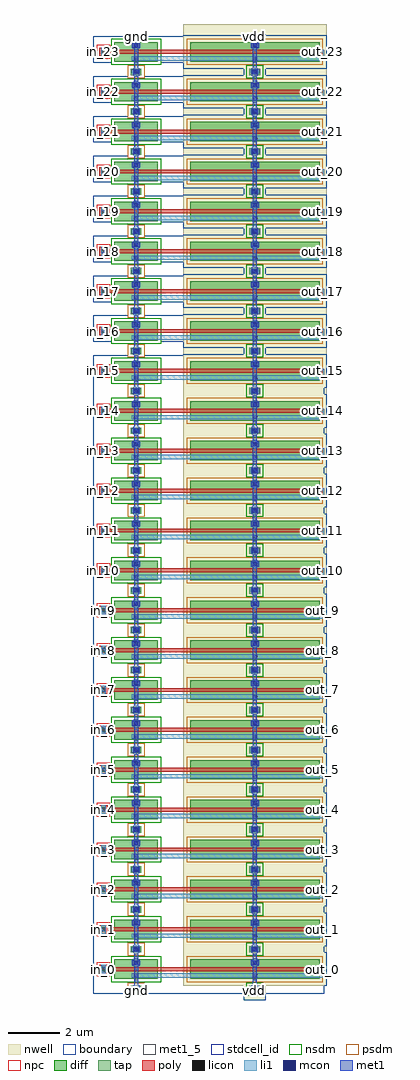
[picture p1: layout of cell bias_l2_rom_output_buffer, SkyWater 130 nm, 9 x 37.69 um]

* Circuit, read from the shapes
.subckt bias_l2_rom_output_buffer gnd in_0 in_1 in_10 in_11 in_12 in_13 in_14 in_15 in_16 in_17 in_18 in_19 in_2 in_20 in_21 in_22 in_23 in_3 in_4 in_5 in_6 in_7 in_8 in_9 out_0 out_1 out_10 out_11 out_12 out_13 out_14 out_15 out_16 out_17 out_18 out_19 out_2 out_20 out_21 out_22 out_23 out_3 out_4 out_5 out_6 out_7 out_8 out_9 vdd
XM1 gnd in_0 out_0 gnd sky130_fd_pr__nfet_01v8 w=1.68 l=0.15
XM2 gnd in_1 out_1 gnd sky130_fd_pr__nfet_01v8 w=1.68 l=0.15
XM3 gnd in_2 out_2 gnd sky130_fd_pr__nfet_01v8 w=1.68 l=0.15
XM4 gnd in_3 out_3 gnd sky130_fd_pr__nfet_01v8 w=1.68 l=0.15
XM5 gnd in_4 out_4 gnd sky130_fd_pr__nfet_01v8 w=1.68 l=0.15
XM6 gnd in_5 out_5 gnd sky130_fd_pr__nfet_01v8 w=1.68 l=0.15
XM7 gnd in_6 out_6 gnd sky130_fd_pr__nfet_01v8 w=1.68 l=0.15
XM8 gnd in_7 out_7 gnd sky130_fd_pr__nfet_01v8 w=1.68 l=0.15
XM9 gnd in_8 out_8 gnd sky130_fd_pr__nfet_01v8 w=1.68 l=0.15
XM10 gnd in_9 out_9 gnd sky130_fd_pr__nfet_01v8 w=1.68 l=0.15
XM11 gnd in_10 out_10 gnd sky130_fd_pr__nfet_01v8 w=1.68 l=0.15
XM12 gnd in_11 out_11 gnd sky130_fd_pr__nfet_01v8 w=1.68 l=0.15
XM13 gnd in_12 out_12 gnd sky130_fd_pr__nfet_01v8 w=1.68 l=0.15
XM14 gnd in_13 out_13 gnd sky130_fd_pr__nfet_01v8 w=1.68 l=0.15
XM15 gnd in_14 out_14 gnd sky130_fd_pr__nfet_01v8 w=1.68 l=0.15
XM16 gnd in_15 out_15 gnd sky130_fd_pr__nfet_01v8 w=1.68 l=0.15
XM17 gnd in_16 out_16 gnd sky130_fd_pr__nfet_01v8 w=1.68 l=0.15
XM18 gnd in_17 out_17 gnd sky130_fd_pr__nfet_01v8 w=1.68 l=0.15
XM19 gnd in_18 out_18 gnd sky130_fd_pr__nfet_01v8 w=1.68 l=0.15
XM20 gnd in_19 out_19 gnd sky130_fd_pr__nfet_01v8 w=1.68 l=0.15
XM21 gnd in_20 out_20 gnd sky130_fd_pr__nfet_01v8 w=1.68 l=0.15
XM22 gnd in_21 out_21 gnd sky130_fd_pr__nfet_01v8 w=1.68 l=0.15
XM23 gnd in_22 out_22 gnd sky130_fd_pr__nfet_01v8 w=1.68 l=0.15
XM24 gnd in_23 out_23 gnd sky130_fd_pr__nfet_01v8 w=1.68 l=0.15
XM25 vdd in_0 out_0 vdd sky130_fd_pr__pfet_01v8 w=5 l=0.15
XM26 vdd in_1 out_1 vdd sky130_fd_pr__pfet_01v8 w=5 l=0.15
XM27 vdd in_2 out_2 vdd sky130_fd_pr__pfet_01v8 w=5 l=0.15
XM28 vdd in_3 out_3 vdd sky130_fd_pr__pfet_01v8 w=5 l=0.15
XM29 vdd in_4 out_4 vdd sky130_fd_pr__pfet_01v8 w=5 l=0.15
XM30 vdd in_5 out_5 vdd sky130_fd_pr__pfet_01v8 w=5 l=0.15
XM31 vdd in_6 out_6 vdd sky130_fd_pr__pfet_01v8 w=5 l=0.15
XM32 vdd in_7 out_7 vdd sky130_fd_pr__pfet_01v8 w=5 l=0.15
XM33 vdd in_8 out_8 vdd sky130_fd_pr__pfet_01v8 w=5 l=0.15
XM34 vdd in_9 out_9 vdd sky130_fd_pr__pfet_01v8 w=5 l=0.15
XM35 vdd in_10 out_10 vdd sky130_fd_pr__pfet_01v8 w=5 l=0.15
XM36 vdd in_11 out_11 vdd sky130_fd_pr__pfet_01v8 w=5 l=0.15
XM37 vdd in_12 out_12 vdd sky130_fd_pr__pfet_01v8 w=5 l=0.15
XM38 vdd in_13 out_13 vdd sky130_fd_pr__pfet_01v8 w=5 l=0.15
XM39 vdd in_14 out_14 vdd sky130_fd_pr__pfet_01v8 w=5 l=0.15
XM40 vdd in_15 out_15 vdd sky130_fd_pr__pfet_01v8 w=5 l=0.15
XM41 vdd in_16 out_16 vdd sky130_fd_pr__pfet_01v8 w=5 l=0.15
XM42 vdd in_17 out_17 vdd sky130_fd_pr__pfet_01v8 w=5 l=0.15
XM43 vdd in_18 out_18 vdd sky130_fd_pr__pfet_01v8 w=5 l=0.15
XM44 vdd in_19 out_19 vdd sky130_fd_pr__pfet_01v8 w=5 l=0.15
XM45 vdd in_20 out_20 vdd sky130_fd_pr__pfet_01v8 w=5 l=0.15
XM46 vdd in_21 out_21 vdd sky130_fd_pr__pfet_01v8 w=5 l=0.15
XM47 vdd in_22 out_22 vdd sky130_fd_pr__pfet_01v8 w=5 l=0.15
XM48 vdd in_23 out_23 vdd sky130_fd_pr__pfet_01v8 w=5 l=0.15
.ends

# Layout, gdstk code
from math import pi, radians
import gdstk
lib = gdstk.Library(unit=1e-6, precision=1e-09)
def R(c, l, rs):  # rectangles x0, y0, x1, y1
    for r in rs: c.add(gdstk.rectangle(r[:2], r[2:], *l))
def A(c, l, x, y, w, h, nx, ny, dx, dy):  # array of equal rectangles
    R(c, l, [(x+i*dx, y+j*dy, x+i*dx+w, y+j*dy+h) for i in range(nx) for j in range(ny)])
nwell = (64, 20)
diff = (65, 20)
tap = (65, 44)
poly = (66, 20)
licon = (66, 44)
li1 = (67, 20)
mcon = (67, 44)
met1_5 = (68, 5)
met1 = (68, 20)
stdcell_id = (81, 4)
nsdm = (93, 44)
psdm = (94, 20)
npc = (95, 20)
boundary = (235, 4)

bias_l2_contact_10 = lib.new_cell('bias_l2_contact_10')
R(bias_l2_contact_10, nwell, [(-0.295,-0.255,0.545,0.585)])
R(bias_l2_contact_10, diff, [(0,0.02,0.25,0.31)])
R(bias_l2_contact_10, licon, [(0.04,0.08,0.21,0.25)])
R(bias_l2_contact_10, li1, [(0.04,0,0.21,0.33)])
R(bias_l2_contact_10, stdcell_id, [(-0.295,-0.255,0.545,0.585)])
R(bias_l2_contact_10, psdm, [(-0.125,-0.105,0.375,0.435)])
R(bias_l2_contact_10, boundary, [(-0.295,-0.255,0.545,0.585)])

bias_l2_pmos_m1_w5_000_s = lib.new_cell('bias_l2_pmos_m1_w5_000_sli_dli_da_p')
R(bias_l2_pmos_m1_w5_000_s, nwell, [(-0.27,-0.27,1.02,5.27)])
R(bias_l2_pmos_m1_w5_000_s, diff, [(0,0,0.75,5)])
R(bias_l2_pmos_m1_w5_000_s, poly, [(0.3,-0.13,0.45,5.13), (0.3,-0.13,0.45,5.13)])
R(bias_l2_pmos_m1_w5_000_s, li1, [(0.04,2.335,0.21,2.665), (0.54,2.335,0.71,2.665)])
R(bias_l2_pmos_m1_w5_000_s, stdcell_id, [(-0.27,-0.27,1.02,5.27)])
R(bias_l2_pmos_m1_w5_000_s, psdm, [(-0.125,-0.125,0.875,5.125)])
R(bias_l2_pmos_m1_w5_000_s, boundary, [(-0.27,-0.27,1.02,5.27)])
bias_l2_pmos_m1_w5_000_s.add(gdstk.Reference(bias_l2_contact_10, (0,2.335)))
bias_l2_pmos_m1_w5_000_s.add(gdstk.Reference(bias_l2_contact_10, (0.5,2.335)))
bias_l2_pmos_m1_w5_000_s.add(gdstk.Label('G', (0.375,2.5), layer=66, texttype=5))
bias_l2_pmos_m1_w5_000_s.add(gdstk.Label('S', (0.125,2.5), layer=67, texttype=5))
bias_l2_pmos_m1_w5_000_s.add(gdstk.Label('D', (0.625,2.5), layer=67, texttype=5))

bias_l2_contact_8 = lib.new_cell('bias_l2_contact_8')
R(bias_l2_contact_8, diff, [(0,0.02,0.25,0.31)])
R(bias_l2_contact_8, licon, [(0.04,0.08,0.21,0.25)])
R(bias_l2_contact_8, li1, [(0.04,0,0.21,0.33)])
R(bias_l2_contact_8, stdcell_id, [(-0.125,-0.105,0.375,0.435)])
R(bias_l2_contact_8, nsdm, [(-0.125,-0.105,0.375,0.435)])
R(bias_l2_contact_8, boundary, [(-0.125,-0.105,0.375,0.435)])

bias_l2_nmos_m1_w1_680_s = lib.new_cell('bias_l2_nmos_m1_w1_680_sli_dli_da_p')
R(bias_l2_nmos_m1_w1_680_s, diff, [(0,0,0.75,1.68)])
R(bias_l2_nmos_m1_w1_680_s, poly, [(0.3,-0.13,0.45,1.81), (0.3,-0.13,0.45,1.81)])
R(bias_l2_nmos_m1_w1_680_s, li1, [(0.04,0.675,0.21,1.005), (0.54,0.675,0.71,1.005)])
R(bias_l2_nmos_m1_w1_680_s, stdcell_id, [(-0.125,-0.13,0.875,1.81)])
R(bias_l2_nmos_m1_w1_680_s, nsdm, [(-0.125,-0.125,0.875,1.805)])
R(bias_l2_nmos_m1_w1_680_s, boundary, [(-0.125,-0.13,0.875,1.81)])
bias_l2_nmos_m1_w1_680_s.add(gdstk.Reference(bias_l2_contact_8, (0,0.675)))
bias_l2_nmos_m1_w1_680_s.add(gdstk.Reference(bias_l2_contact_8, (0.5,0.675)))
bias_l2_nmos_m1_w1_680_s.add(gdstk.Label('G', (0.375,0.84), layer=66, texttype=5))
bias_l2_nmos_m1_w1_680_s.add(gdstk.Label('S', (0.125,0.84), layer=67, texttype=5))
bias_l2_nmos_m1_w1_680_s.add(gdstk.Label('D', (0.625,0.84), layer=67, texttype=5))

bias_l2_contact_11 = lib.new_cell('bias_l2_contact_11')
R(bias_l2_contact_11, poly, [(0,0,0.33,0.33)])
R(bias_l2_contact_11, licon, [(0.08,0.08,0.25,0.25)])
R(bias_l2_contact_11, li1, [(0.08,0,0.25,0.33)])
R(bias_l2_contact_11, stdcell_id, [(-0.1,-0.1,0.43,0.43)])
R(bias_l2_contact_11, npc, [(-0.1,-0.1,0.43,0.43)])
R(bias_l2_contact_11, boundary, [(-0.1,-0.1,0.43,0.43)])

bias_l2_contact_12 = lib.new_cell('bias_l2_contact_12')
R(bias_l2_contact_12, li1, [(0.06,0,0.23,0.33)])
R(bias_l2_contact_12, mcon, [(0.06,0.08,0.23,0.25)])
R(bias_l2_contact_12, met1, [(0,0.05,0.29,0.28)])
R(bias_l2_contact_12, stdcell_id, [(0,0,0.29,0.33)])
R(bias_l2_contact_12, boundary, [(0,0,0.29,0.33)])

bias_l2_pinv_dec_4 = lib.new_cell('bias_l2_pinv_dec_4')
R(bias_l2_pinv_dec_4, nwell, [(3.46,0,9,1.495)])
R(bias_l2_pinv_dec_4, poly, [(0.385,0.345,0.68,0.495), (2.62,0.345,3.6,0.495)])
R(bias_l2_pinv_dec_4, li1, [(1.485,0.085,8.91,0.255), (0.3,0.255,0.47,0.585)])
R(bias_l2_pinv_dec_4, met1_5, [(1.58,0,1.72,1.02), (6.16,0,6.3,1.02)])
R(bias_l2_pinv_dec_4, met1, [(1.58,0,1.72,1.02), (6.16,0,6.3,1.02)])
R(bias_l2_pinv_dec_4, stdcell_id, [(0,0,8.91,1.02), (0,0,8.91,1.02)])
R(bias_l2_pinv_dec_4, nsdm, [(0.685,0,2.615,0.795)])
R(bias_l2_pinv_dec_4, psdm, [(3.605,0,8.855,0.795)])
R(bias_l2_pinv_dec_4, boundary, [(0,0,8.91,1.02), (0,0,8.91,1.02)])
bias_l2_pinv_dec_4.add(gdstk.Reference(bias_l2_pmos_m1_w5_000_s, (3.73,0.795), rotation=3*pi/2))
bias_l2_pinv_dec_4.add(gdstk.Reference(bias_l2_nmos_m1_w1_680_s, (0.81,0.795), rotation=3*pi/2))
bias_l2_pinv_dec_4.add(gdstk.Reference(bias_l2_contact_11, (0.22,0.255)))
bias_l2_pinv_dec_4.add(gdstk.Reference(bias_l2_contact_12, (1.505,0.505)))
bias_l2_pinv_dec_4.add(gdstk.Reference(bias_l2_contact_12, (6.085,0.505)))
bias_l2_pinv_dec_4.add(gdstk.Label('A', (0.385,0.42), layer=67, texttype=5))
bias_l2_pinv_dec_4.add(gdstk.Label('Z', (5.198,0.17), layer=67, texttype=5))
bias_l2_pinv_dec_4.add(gdstk.Label('gnd', (1.65,0.51), layer=68, texttype=5))
bias_l2_pinv_dec_4.add(gdstk.Label('vdd', (6.23,0.51), layer=68, texttype=5))

bias_l2_contact_15 = lib.new_cell('bias_l2_contact_15')
R(bias_l2_contact_15, nwell, [(-0.215,-0.295,0.625,0.545)])
R(bias_l2_contact_15, tap, [(0,0,0.41,0.25)])
R(bias_l2_contact_15, licon, [(0.12,0.04,0.29,0.21)])
R(bias_l2_contact_15, li1, [(0.04,0.04,0.37,0.21)])
R(bias_l2_contact_15, stdcell_id, [(-0.215,-0.295,0.625,0.545)])
R(bias_l2_contact_15, nsdm, [(-0.125,-0.125,0.535,0.375)])
R(bias_l2_contact_15, boundary, [(-0.215,-0.295,0.625,0.545)])

bias_l2_contact_17 = lib.new_cell('bias_l2_contact_17')
R(bias_l2_contact_17, li1, [(0,0.06,0.33,0.23)])
R(bias_l2_contact_17, mcon, [(0.08,0.06,0.25,0.23)])
R(bias_l2_contact_17, met1, [(0.05,0,0.28,0.29)])
R(bias_l2_contact_17, stdcell_id, [(0,0,0.33,0.29)])
R(bias_l2_contact_17, boundary, [(0,0,0.33,0.29)])

bias_l2_contact_16 = lib.new_cell('bias_l2_contact_16')
R(bias_l2_contact_16, tap, [(0,0,0.41,0.25)])
R(bias_l2_contact_16, licon, [(0.12,0.04,0.29,0.21)])
R(bias_l2_contact_16, li1, [(0.04,0.04,0.37,0.21)])
R(bias_l2_contact_16, stdcell_id, [(-0.125,-0.125,0.535,0.375)])
R(bias_l2_contact_16, psdm, [(-0.125,-0.125,0.535,0.375)])
R(bias_l2_contact_16, boundary, [(-0.125,-0.125,0.535,0.375)])

bias_l2_rom_output_buffe = lib.new_cell('bias_l2_rom_output_buffer')
A(bias_l2_rom_output_buffe, li1, 8.74, 0.69, 0.17, 0.335, 1, 24, 0, 1.54)
A(bias_l2_rom_output_buffe, li1, 0.3, 0.775, 0.17, 0.33, 1, 24, 0, 1.54)
A(bias_l2_rom_output_buffe, li1, 8.74, 0.855, 0.17, 0.17, 1, 24, 0, 1.54)
R(bias_l2_rom_output_buffe, met1_5, [(1.58,0.03,1.72,0.17), (6.16,0.03,6.3,0.17), (1.58,36.89,1.72,37.03), (6.16,36.89,6.3,37.03)])
R(bias_l2_rom_output_buffe, met1, [(1.58,0.03,1.72,0.17), (1.58,0.03,1.72,37.03), (6.16,0.03,6.3,0.17), (6.16,0.03,6.3,37.03), (1.58,0.1,1.72,0.24), (6.16,0.1,6.3,0.24), (1.58,0.96,1.72,1.1), (6.16,0.96,6.3,1.1), (1.58,1.64,1.72,1.78), (6.16,1.64,6.3,1.78), (1.58,2.5,1.72,2.64), (6.16,2.5,6.3,2.64), (1.58,3.18,1.72,3.32), (6.16,3.18,6.3,3.32), (1.58,4.04,1.72,4.18), (6.16,4.04,6.3,4.18), (1.58,4.72,1.72,4.86), (6.16,4.72,6.3,4.86), (1.58,5.58,1.72,5.72), (6.16,5.58,6.3,5.72), (1.58,6.26,1.72,6.4), (6.16,6.26,6.3,6.4), (1.58,7.12,1.72,7.26), (6.16,7.12,6.3,7.26), (1.58,7.8,1.72,7.94), (6.16,7.8,6.3,7.94), (1.58,8.66,1.72,8.8), (6.16,8.66,6.3,8.8), (1.58,9.34,1.72,9.48), (6.16,9.34,6.3,9.48), (1.58,10.2,1.72,10.34), (6.16,10.2,6.3,10.34), (1.58,10.88,1.72,11.02), (6.16,10.88,6.3,11.02), (1.58,11.74,1.72,11.88), (6.16,11.74,6.3,11.88), (1.58,12.42,1.72,12.56), (6.16,12.42,6.3,12.56), (1.58,13.28,1.72,13.42), (6.16,13.28,6.3,13.42), (1.58,13.96,1.72,14.1), (6.16,13.96,6.3,14.1), (1.58,14.82,1.72,14.96), (6.16,14.82,6.3,14.96), (1.58,15.5,1.72,15.64), (6.16,15.5,6.3,15.64), (1.58,16.36,1.72,16.5), (6.16,16.36,6.3,16.5), (1.58,17.04,1.72,17.18), (6.16,17.04,6.3,17.18), (1.58,17.9,1.72,18.04), (6.16,17.9,6.3,18.04), (1.58,18.58,1.72,18.72), (6.16,18.58,6.3,18.72), (1.58,19.44,1.72,19.58), (6.16,19.44,6.3,19.58), (1.58,20.12,1.72,20.26), (6.16,20.12,6.3,20.26), (1.58,20.98,1.72,21.12), (6.16,20.98,6.3,21.12), (1.58,21.66,1.72,21.8), (6.16,21.66,6.3,21.8), (1.58,22.52,1.72,22.66), (6.16,22.52,6.3,22.66), (1.58,23.2,1.72,23.34), (6.16,23.2,6.3,23.34), (1.58,24.06,1.72,24.2), (6.16,24.06,6.3,24.2), (1.58,24.74,1.72,24.88), (6.16,24.74,6.3,24.88), (1.58,25.6,1.72,25.74), (6.16,25.6,6.3,25.74), (1.58,26.28,1.72,26.42), (6.16,26.28,6.3,26.42), (1.58,27.14,1.72,27.28), (6.16,27.14,6.3,27.28), (1.58,27.82,1.72,27.96), (6.16,27.82,6.3,27.96), (1.58,28.68,1.72,28.82), (6.16,28.68,6.3,28.82), (1.58,29.36,1.72,29.5), (6.16,29.36,6.3,29.5), (1.58,30.22,1.72,30.36), (6.16,30.22,6.3,30.36), (1.58,30.9,1.72,31.04), (6.16,30.9,6.3,31.04), (1.58,31.76,1.72,31.9), (6.16,31.76,6.3,31.9), (1.58,32.44,1.72,32.58), (6.16,32.44,6.3,32.58), (1.58,33.3,1.72,33.44), (6.16,33.3,6.3,33.44), (1.58,33.98,1.72,34.12), (6.16,33.98,6.3,34.12), (1.58,34.84,1.72,34.98), (6.16,34.84,6.3,34.98), (1.58,35.52,1.72,35.66), (6.16,35.52,6.3,35.66), (1.58,36.38,1.72,36.52), (6.16,36.38,6.3,36.52), (1.58,36.89,1.72,37.03), (6.16,36.89,6.3,37.03)])
R(bias_l2_rom_output_buffe, stdcell_id, [(0,0,8.91,24.48)])
R(bias_l2_rom_output_buffe, boundary, [(0,0,8.91,24.48)])
bias_l2_rom_output_buffe.add(gdstk.Reference(bias_l2_pinv_dec_4, (0,0.52)))
bias_l2_rom_output_buffe.add(gdstk.Reference(bias_l2_pinv_dec_4, (0,2.06)))
bias_l2_rom_output_buffe.add(gdstk.Reference(bias_l2_pinv_dec_4, (0,3.6)))
bias_l2_rom_output_buffe.add(gdstk.Reference(bias_l2_pinv_dec_4, (0,5.14)))
bias_l2_rom_output_buffe.add(gdstk.Reference(bias_l2_pinv_dec_4, (0,6.68)))
bias_l2_rom_output_buffe.add(gdstk.Reference(bias_l2_pinv_dec_4, (0,8.22)))
bias_l2_rom_output_buffe.add(gdstk.Reference(bias_l2_pinv_dec_4, (0,9.76)))
bias_l2_rom_output_buffe.add(gdstk.Reference(bias_l2_pinv_dec_4, (0,11.3)))
bias_l2_rom_output_buffe.add(gdstk.Reference(bias_l2_pinv_dec_4, (0,12.84)))
bias_l2_rom_output_buffe.add(gdstk.Reference(bias_l2_pinv_dec_4, (0,14.38)))
bias_l2_rom_output_buffe.add(gdstk.Reference(bias_l2_pinv_dec_4, (0,15.92)))
bias_l2_rom_output_buffe.add(gdstk.Reference(bias_l2_pinv_dec_4, (0,17.46)))
bias_l2_rom_output_buffe.add(gdstk.Reference(bias_l2_pinv_dec_4, (0,19)))
bias_l2_rom_output_buffe.add(gdstk.Reference(bias_l2_pinv_dec_4, (0,20.54)))
bias_l2_rom_output_buffe.add(gdstk.Reference(bias_l2_pinv_dec_4, (0,22.08)))
bias_l2_rom_output_buffe.add(gdstk.Reference(bias_l2_pinv_dec_4, (0,23.62)))
bias_l2_rom_output_buffe.add(gdstk.Reference(bias_l2_pinv_dec_4, (0,25.16)))
bias_l2_rom_output_buffe.add(gdstk.Reference(bias_l2_pinv_dec_4, (0,26.7)))
bias_l2_rom_output_buffe.add(gdstk.Reference(bias_l2_pinv_dec_4, (0,28.24)))
bias_l2_rom_output_buffe.add(gdstk.Reference(bias_l2_pinv_dec_4, (0,29.78)))
bias_l2_rom_output_buffe.add(gdstk.Reference(bias_l2_pinv_dec_4, (0,31.32)))
bias_l2_rom_output_buffe.add(gdstk.Reference(bias_l2_pinv_dec_4, (0,32.86)))
bias_l2_rom_output_buffe.add(gdstk.Reference(bias_l2_pinv_dec_4, (0,34.4)))
bias_l2_rom_output_buffe.add(gdstk.Reference(bias_l2_pinv_dec_4, (0,35.94)))
bias_l2_rom_output_buffe.add(gdstk.Reference(bias_l2_contact_15, (6.025,0.045)))
bias_l2_rom_output_buffe.add(gdstk.Reference(bias_l2_contact_17, (6.065,0.025)))
bias_l2_rom_output_buffe.add(gdstk.Reference(bias_l2_contact_16, (1.445,0.045)))
bias_l2_rom_output_buffe.add(gdstk.Reference(bias_l2_contact_17, (1.485,0.025)))
bias_l2_rom_output_buffe.add(gdstk.Reference(bias_l2_contact_15, (6.025,1.585)))
bias_l2_rom_output_buffe.add(gdstk.Reference(bias_l2_contact_17, (6.065,1.565)))
bias_l2_rom_output_buffe.add(gdstk.Reference(bias_l2_contact_16, (1.445,1.585)))
bias_l2_rom_output_buffe.add(gdstk.Reference(bias_l2_contact_17, (1.485,1.565)))
bias_l2_rom_output_buffe.add(gdstk.Reference(bias_l2_contact_15, (6.025,3.125)))
bias_l2_rom_output_buffe.add(gdstk.Reference(bias_l2_contact_17, (6.065,3.105)))
bias_l2_rom_output_buffe.add(gdstk.Reference(bias_l2_contact_16, (1.445,3.125)))
bias_l2_rom_output_buffe.add(gdstk.Reference(bias_l2_contact_17, (1.485,3.105)))
bias_l2_rom_output_buffe.add(gdstk.Reference(bias_l2_contact_15, (6.025,4.665)))
bias_l2_rom_output_buffe.add(gdstk.Reference(bias_l2_contact_17, (6.065,4.645)))
bias_l2_rom_output_buffe.add(gdstk.Reference(bias_l2_contact_16, (1.445,4.665)))
bias_l2_rom_output_buffe.add(gdstk.Reference(bias_l2_contact_17, (1.485,4.645)))
bias_l2_rom_output_buffe.add(gdstk.Reference(bias_l2_contact_15, (6.025,6.205)))
bias_l2_rom_output_buffe.add(gdstk.Reference(bias_l2_contact_17, (6.065,6.185)))
bias_l2_rom_output_buffe.add(gdstk.Reference(bias_l2_contact_16, (1.445,6.205)))
bias_l2_rom_output_buffe.add(gdstk.Reference(bias_l2_contact_17, (1.485,6.185)))
bias_l2_rom_output_buffe.add(gdstk.Reference(bias_l2_contact_15, (6.025,7.745)))
bias_l2_rom_output_buffe.add(gdstk.Reference(bias_l2_contact_17, (6.065,7.725)))
bias_l2_rom_output_buffe.add(gdstk.Reference(bias_l2_contact_16, (1.445,7.745)))
bias_l2_rom_output_buffe.add(gdstk.Reference(bias_l2_contact_17, (1.485,7.725)))
bias_l2_rom_output_buffe.add(gdstk.Reference(bias_l2_contact_15, (6.025,9.285)))
bias_l2_rom_output_buffe.add(gdstk.Reference(bias_l2_contact_17, (6.065,9.265)))
bias_l2_rom_output_buffe.add(gdstk.Reference(bias_l2_contact_16, (1.445,9.285)))
bias_l2_rom_output_buffe.add(gdstk.Reference(bias_l2_contact_17, (1.485,9.265)))
bias_l2_rom_output_buffe.add(gdstk.Reference(bias_l2_contact_15, (6.025,10.825)))
bias_l2_rom_output_buffe.add(gdstk.Reference(bias_l2_contact_17, (6.065,10.805)))
bias_l2_rom_output_buffe.add(gdstk.Reference(bias_l2_contact_16, (1.445,10.825)))
bias_l2_rom_output_buffe.add(gdstk.Reference(bias_l2_contact_17, (1.485,10.805)))
bias_l2_rom_output_buffe.add(gdstk.Reference(bias_l2_contact_15, (6.025,12.365)))
bias_l2_rom_output_buffe.add(gdstk.Reference(bias_l2_contact_17, (6.065,12.345)))
bias_l2_rom_output_buffe.add(gdstk.Reference(bias_l2_contact_16, (1.445,12.365)))
bias_l2_rom_output_buffe.add(gdstk.Reference(bias_l2_contact_17, (1.485,12.345)))
bias_l2_rom_output_buffe.add(gdstk.Reference(bias_l2_contact_15, (6.025,13.905)))
bias_l2_rom_output_buffe.add(gdstk.Reference(bias_l2_contact_17, (6.065,13.885)))
bias_l2_rom_output_buffe.add(gdstk.Reference(bias_l2_contact_16, (1.445,13.905)))
bias_l2_rom_output_buffe.add(gdstk.Reference(bias_l2_contact_17, (1.485,13.885)))
bias_l2_rom_output_buffe.add(gdstk.Reference(bias_l2_contact_15, (6.025,15.445)))
bias_l2_rom_output_buffe.add(gdstk.Reference(bias_l2_contact_17, (6.065,15.425)))
bias_l2_rom_output_buffe.add(gdstk.Reference(bias_l2_contact_16, (1.445,15.445)))
bias_l2_rom_output_buffe.add(gdstk.Reference(bias_l2_contact_17, (1.485,15.425)))
bias_l2_rom_output_buffe.add(gdstk.Reference(bias_l2_contact_15, (6.025,16.985)))
bias_l2_rom_output_buffe.add(gdstk.Reference(bias_l2_contact_17, (6.065,16.965)))
bias_l2_rom_output_buffe.add(gdstk.Reference(bias_l2_contact_16, (1.445,16.985)))
bias_l2_rom_output_buffe.add(gdstk.Reference(bias_l2_contact_17, (1.485,16.965)))
bias_l2_rom_output_buffe.add(gdstk.Reference(bias_l2_contact_15, (6.025,18.525)))
bias_l2_rom_output_buffe.add(gdstk.Reference(bias_l2_contact_17, (6.065,18.505)))
bias_l2_rom_output_buffe.add(gdstk.Reference(bias_l2_contact_16, (1.445,18.525)))
bias_l2_rom_output_buffe.add(gdstk.Reference(bias_l2_contact_17, (1.485,18.505)))
bias_l2_rom_output_buffe.add(gdstk.Reference(bias_l2_contact_15, (6.025,20.065)))
bias_l2_rom_output_buffe.add(gdstk.Reference(bias_l2_contact_17, (6.065,20.045)))
bias_l2_rom_output_buffe.add(gdstk.Reference(bias_l2_contact_16, (1.445,20.065)))
bias_l2_rom_output_buffe.add(gdstk.Reference(bias_l2_contact_17, (1.485,20.045)))
bias_l2_rom_output_buffe.add(gdstk.Reference(bias_l2_contact_15, (6.025,21.605)))
bias_l2_rom_output_buffe.add(gdstk.Reference(bias_l2_contact_17, (6.065,21.585)))
bias_l2_rom_output_buffe.add(gdstk.Reference(bias_l2_contact_16, (1.445,21.605)))
bias_l2_rom_output_buffe.add(gdstk.Reference(bias_l2_contact_17, (1.485,21.585)))
bias_l2_rom_output_buffe.add(gdstk.Reference(bias_l2_contact_15, (6.025,23.145)))
bias_l2_rom_output_buffe.add(gdstk.Reference(bias_l2_contact_17, (6.065,23.125)))
bias_l2_rom_output_buffe.add(gdstk.Reference(bias_l2_contact_16, (1.445,23.145)))
bias_l2_rom_output_buffe.add(gdstk.Reference(bias_l2_contact_17, (1.485,23.125)))
bias_l2_rom_output_buffe.add(gdstk.Reference(bias_l2_contact_15, (6.025,24.685)))
bias_l2_rom_output_buffe.add(gdstk.Reference(bias_l2_contact_17, (6.065,24.665)))
bias_l2_rom_output_buffe.add(gdstk.Reference(bias_l2_contact_16, (1.445,24.685)))
bias_l2_rom_output_buffe.add(gdstk.Reference(bias_l2_contact_17, (1.485,24.665)))
bias_l2_rom_output_buffe.add(gdstk.Reference(bias_l2_contact_15, (6.025,26.225)))
bias_l2_rom_output_buffe.add(gdstk.Reference(bias_l2_contact_17, (6.065,26.205)))
bias_l2_rom_output_buffe.add(gdstk.Reference(bias_l2_contact_16, (1.445,26.225)))
bias_l2_rom_output_buffe.add(gdstk.Reference(bias_l2_contact_17, (1.485,26.205)))
bias_l2_rom_output_buffe.add(gdstk.Reference(bias_l2_contact_15, (6.025,27.765)))
bias_l2_rom_output_buffe.add(gdstk.Reference(bias_l2_contact_17, (6.065,27.745)))
bias_l2_rom_output_buffe.add(gdstk.Reference(bias_l2_contact_16, (1.445,27.765)))
bias_l2_rom_output_buffe.add(gdstk.Reference(bias_l2_contact_17, (1.485,27.745)))
bias_l2_rom_output_buffe.add(gdstk.Reference(bias_l2_contact_15, (6.025,29.305)))
bias_l2_rom_output_buffe.add(gdstk.Reference(bias_l2_contact_17, (6.065,29.285)))
bias_l2_rom_output_buffe.add(gdstk.Reference(bias_l2_contact_16, (1.445,29.305)))
bias_l2_rom_output_buffe.add(gdstk.Reference(bias_l2_contact_17, (1.485,29.285)))
bias_l2_rom_output_buffe.add(gdstk.Reference(bias_l2_contact_15, (6.025,30.845)))
bias_l2_rom_output_buffe.add(gdstk.Reference(bias_l2_contact_17, (6.065,30.825)))
bias_l2_rom_output_buffe.add(gdstk.Reference(bias_l2_contact_16, (1.445,30.845)))
bias_l2_rom_output_buffe.add(gdstk.Reference(bias_l2_contact_17, (1.485,30.825)))
bias_l2_rom_output_buffe.add(gdstk.Reference(bias_l2_contact_15, (6.025,32.385)))
bias_l2_rom_output_buffe.add(gdstk.Reference(bias_l2_contact_17, (6.065,32.365)))
bias_l2_rom_output_buffe.add(gdstk.Reference(bias_l2_contact_16, (1.445,32.385)))
bias_l2_rom_output_buffe.add(gdstk.Reference(bias_l2_contact_17, (1.485,32.365)))
bias_l2_rom_output_buffe.add(gdstk.Reference(bias_l2_contact_15, (6.025,33.925)))
bias_l2_rom_output_buffe.add(gdstk.Reference(bias_l2_contact_17, (6.065,33.905)))
bias_l2_rom_output_buffe.add(gdstk.Reference(bias_l2_contact_16, (1.445,33.925)))
bias_l2_rom_output_buffe.add(gdstk.Reference(bias_l2_contact_17, (1.485,33.905)))
bias_l2_rom_output_buffe.add(gdstk.Reference(bias_l2_contact_15, (6.025,35.465)))
bias_l2_rom_output_buffe.add(gdstk.Reference(bias_l2_contact_17, (6.065,35.445)))
bias_l2_rom_output_buffe.add(gdstk.Reference(bias_l2_contact_16, (1.445,35.465)))
bias_l2_rom_output_buffe.add(gdstk.Reference(bias_l2_contact_17, (1.485,35.445)))
bias_l2_rom_output_buffe.add(gdstk.Label('in_0', (0.385,0.94), layer=67, texttype=5))
bias_l2_rom_output_buffe.add(gdstk.Label('out_0', (8.825,0.94), layer=67, texttype=5))
bias_l2_rom_output_buffe.add(gdstk.Label('in_1', (0.385,2.48), layer=67, texttype=5))
bias_l2_rom_output_buffe.add(gdstk.Label('out_1', (8.825,2.48), layer=67, texttype=5))
bias_l2_rom_output_buffe.add(gdstk.Label('in_2', (0.385,4.02), layer=67, texttype=5))
bias_l2_rom_output_buffe.add(gdstk.Label('out_2', (8.825,4.02), layer=67, texttype=5))
bias_l2_rom_output_buffe.add(gdstk.Label('in_3', (0.385,5.56), layer=67, texttype=5))
bias_l2_rom_output_buffe.add(gdstk.Label('out_3', (8.825,5.56), layer=67, texttype=5))
bias_l2_rom_output_buffe.add(gdstk.Label('in_4', (0.385,7.1), layer=67, texttype=5))
bias_l2_rom_output_buffe.add(gdstk.Label('out_4', (8.825,7.1), layer=67, texttype=5))
bias_l2_rom_output_buffe.add(gdstk.Label('in_5', (0.385,8.64), layer=67, texttype=5))
bias_l2_rom_output_buffe.add(gdstk.Label('out_5', (8.825,8.64), layer=67, texttype=5))
bias_l2_rom_output_buffe.add(gdstk.Label('in_6', (0.385,10.18), layer=67, texttype=5))
bias_l2_rom_output_buffe.add(gdstk.Label('out_6', (8.825,10.18), layer=67, texttype=5))
bias_l2_rom_output_buffe.add(gdstk.Label('in_7', (0.385,11.72), layer=67, texttype=5))
bias_l2_rom_output_buffe.add(gdstk.Label('out_7', (8.825,11.72), layer=67, texttype=5))
bias_l2_rom_output_buffe.add(gdstk.Label('in_8', (0.385,13.26), layer=67, texttype=5))
bias_l2_rom_output_buffe.add(gdstk.Label('out_8', (8.825,13.26), layer=67, texttype=5))
bias_l2_rom_output_buffe.add(gdstk.Label('in_9', (0.385,14.8), layer=67, texttype=5))
bias_l2_rom_output_buffe.add(gdstk.Label('out_9', (8.825,14.8), layer=67, texttype=5))
bias_l2_rom_output_buffe.add(gdstk.Label('in_10', (0.385,16.34), layer=67, texttype=5))
bias_l2_rom_output_buffe.add(gdstk.Label('out_10', (8.825,16.34), layer=67, texttype=5))
bias_l2_rom_output_buffe.add(gdstk.Label('in_11', (0.385,17.88), layer=67, texttype=5))
bias_l2_rom_output_buffe.add(gdstk.Label('out_11', (8.825,17.88), layer=67, texttype=5))
bias_l2_rom_output_buffe.add(gdstk.Label('in_12', (0.385,19.42), layer=67, texttype=5))
bias_l2_rom_output_buffe.add(gdstk.Label('out_12', (8.825,19.42), layer=67, texttype=5))
bias_l2_rom_output_buffe.add(gdstk.Label('in_13', (0.385,20.96), layer=67, texttype=5))
bias_l2_rom_output_buffe.add(gdstk.Label('out_13', (8.825,20.96), layer=67, texttype=5))
bias_l2_rom_output_buffe.add(gdstk.Label('in_14', (0.385,22.5), layer=67, texttype=5))
bias_l2_rom_output_buffe.add(gdstk.Label('out_14', (8.825,22.5), layer=67, texttype=5))
bias_l2_rom_output_buffe.add(gdstk.Label('in_15', (0.385,24.04), layer=67, texttype=5))
bias_l2_rom_output_buffe.add(gdstk.Label('out_15', (8.825,24.04), layer=67, texttype=5))
bias_l2_rom_output_buffe.add(gdstk.Label('in_16', (0.385,25.58), layer=67, texttype=5))
bias_l2_rom_output_buffe.add(gdstk.Label('out_16', (8.825,25.58), layer=67, texttype=5))
bias_l2_rom_output_buffe.add(gdstk.Label('in_17', (0.385,27.12), layer=67, texttype=5))
bias_l2_rom_output_buffe.add(gdstk.Label('out_17', (8.825,27.12), layer=67, texttype=5))
bias_l2_rom_output_buffe.add(gdstk.Label('in_18', (0.385,28.66), layer=67, texttype=5))
bias_l2_rom_output_buffe.add(gdstk.Label('out_18', (8.825,28.66), layer=67, texttype=5))
bias_l2_rom_output_buffe.add(gdstk.Label('in_19', (0.385,30.2), layer=67, texttype=5))
bias_l2_rom_output_buffe.add(gdstk.Label('out_19', (8.825,30.2), layer=67, texttype=5))
bias_l2_rom_output_buffe.add(gdstk.Label('in_20', (0.385,31.74), layer=67, texttype=5))
bias_l2_rom_output_buffe.add(gdstk.Label('out_20', (8.825,31.74), layer=67, texttype=5))
bias_l2_rom_output_buffe.add(gdstk.Label('in_21', (0.385,33.28), layer=67, texttype=5))
bias_l2_rom_output_buffe.add(gdstk.Label('out_21', (8.825,33.28), layer=67, texttype=5))
bias_l2_rom_output_buffe.add(gdstk.Label('in_22', (0.385,34.82), layer=67, texttype=5))
bias_l2_rom_output_buffe.add(gdstk.Label('out_22', (8.825,34.82), layer=67, texttype=5))
bias_l2_rom_output_buffe.add(gdstk.Label('in_23', (0.385,36.36), layer=67, texttype=5))
bias_l2_rom_output_buffe.add(gdstk.Label('out_23', (8.825,36.36), layer=67, texttype=5))
bias_l2_rom_output_buffe.add(gdstk.Label('gnd', (1.65,36.96), layer=68, texttype=5))
bias_l2_rom_output_buffe.add(gdstk.Label('gnd', (1.65,0.1), layer=68, texttype=5))
bias_l2_rom_output_buffe.add(gdstk.Label('vdd', (6.23,36.96), layer=68, texttype=5))
bias_l2_rom_output_buffe.add(gdstk.Label('vdd', (6.23,0.1), layer=68, texttype=5))

lib.write_gds('bias_l2_rom_output_buffer.gds')
